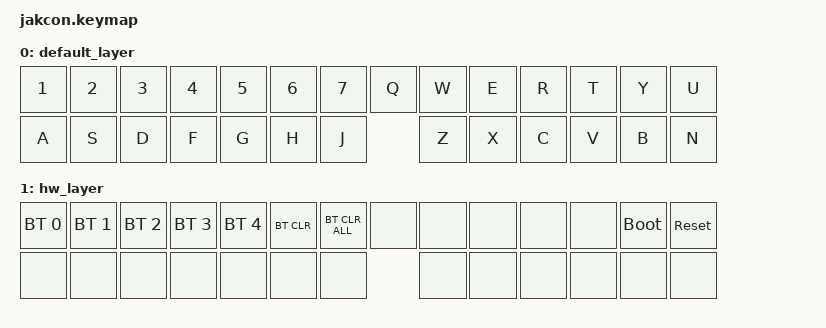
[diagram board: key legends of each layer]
#include <behaviors.dtsi>
#include <dt-bindings/zmk/keys.h>
#include <dt-bindings/zmk/bt.h>

#define DEFAULT 0
#define HW 1

&sl {
    release-after-ms = <10000>;
};


/ {
	combos {
		compatible = "zmk,combos";
		combo_set {
			timeout-ms = <100>;
			key-positions = <0 14 17 21>;
			bindings = <&sl 1>;
		};
	};
	behaviors {
		/*rst: hw_reset {
		compatible = "zmk,behavior-hold-tap";
		#binding-cells = <2>;
		flavor = "tap-preferred";
		tapping-term-ms = <3000>;
		quick-tap-ms = <0>;
		require-prior-idle-ms = <300>;
		bindings = <&sys_reset>, <&bootloader>;
		};*/
	};
    keymap {
        compatible = "zmk,keymap";

	//----------------------------------------------------------
	// | 1 | 2 | 3 | 4 | 5 | 6 | 7 | q | w | e | r | t | y | u |
	// | a | s | d | | f | g | h | j | | z | x | c | v | b | n |
	//----------------------------------------------------------

        default_layer {
            bindings = <
    &kp N1  &kp N2  &kp N3  &kp N4  &kp N5  &kp N6  &kp N7  &kp Q   &kp W   &kp E   &kp R   &kp T   &kp Y   &kp U
	&kp A   &kp S   &kp D       &kp F   &kp G   &kp H   &kp J       &kp Z   &kp X   &kp C   &kp V   &kp B   &kp N
            >;
        };
		hw_layer {
			bindings = <
	&bt BT_SEL 0 &bt BT_SEL 1 &bt BT_SEL 2 &bt BT_SEL 3 &bt BT_SEL 4 &bt BT_CLR &bt BT_CLR_ALL &none &none &none &none &none &bootloader &sys_reset
	&none &none &none  &none &none &none &none  &none &none &none &none &none &none
			>;
		};
    };
};
